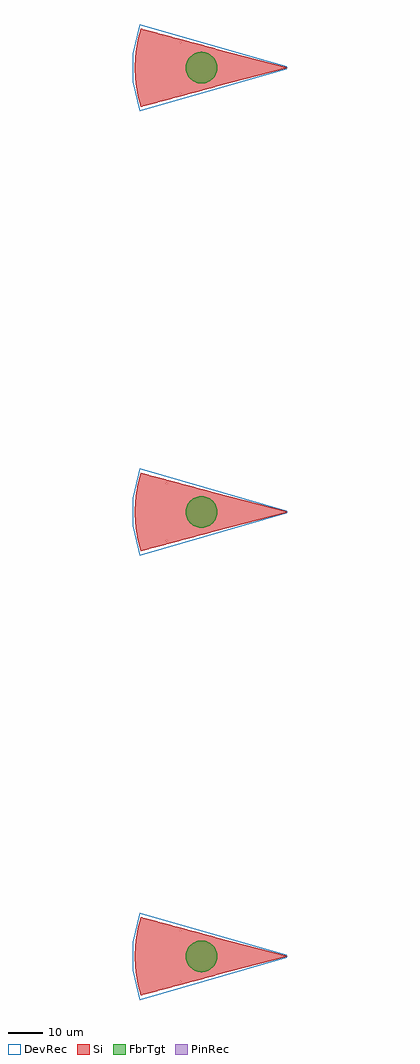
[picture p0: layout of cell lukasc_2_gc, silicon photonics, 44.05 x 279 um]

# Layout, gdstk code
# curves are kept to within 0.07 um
import gdstk
lib = gdstk.Library(unit=1e-6, precision=1e-09)
def P(c, l, *ps):  # polygons
    for p in ps: c.add(gdstk.Polygon(p, *l))
Si = (1, 0)
PinRec = (1, 10)
DevRec = (68, 0)
FbrTgt = (81, 0)

te1310_swgc_34d = lib.new_cell('TE1310_SWGC_34d')
P(te1310_swgc_34d, Si, [(-20.602,-5.52),(-20.798,-4.936),(-21.015,-4.18),(-21.208,-3.359),(-21.313,-2.806),(-21.422,-2.082),(-21.503,-1.296),(-21.54,-0.677),(-21.554,-0.056),(-21.54,0.677),(-21.503,1.296),(-21.429,2.026),(-21.332,2.695),(-21.208,3.359),(-21.029,4.126),(-20.798,4.936),(-20.602,5.52),(-20.526,5.5),(-20.77,4.757),(-20.993,3.948),(-21.174,3.127),(-21.289,2.463),(-21.37,1.851),(-21.424,1.292),(-21.461,0.674),(-21.475,0.056),(-21.461,-0.674),(-21.424,-1.292),(-21.37,-1.851),(-21.289,-2.463),(-21.174,-3.127),(-20.993,-3.948),(-20.77,-4.757),(-20.526,-5.5)],
  [(-21.057,-5.642),(-21.462,-4.327),(-21.77,-2.924),(-21.953,-1.554),(-22.024,-0.115),(-21.968,1.382),(-21.789,2.811),(-21.491,4.216),(-21.057,5.642),(-20.68,5.541),(-21.094,4.196),(-21.393,2.816),(-21.564,1.527),(-21.634,0.113),(-21.583,-1.301),(-21.412,-2.705),(-21.094,-4.196),(-20.68,-5.541)],
  [(-21.211,-5.683),(-21.428,-5.026),(-21.633,-4.303),(-21.794,-3.627),(-21.938,-2.888),(-22.034,-2.258),(-22.112,-1.566),(-22.167,-0.755),(-22.184,-0.058),(-22.172,0.639),(-22.127,1.392),(-22.049,2.142),(-21.938,2.888),(-21.794,3.627),(-21.633,4.303),(-21.428,5.026),(-21.211,5.683),(-21.135,5.663),(-21.368,4.953),(-21.57,4.232),(-21.752,3.445),(-21.888,2.707),(-21.991,1.963),(-22.053,1.329),(-22.093,0.636),(-22.105,0.058),(-22.093,-0.636),(-22.053,-1.329),(-21.991,-1.963),(-21.906,-2.593),(-21.752,-3.445),(-21.57,-4.232),(-21.368,-4.953),(-21.135,-5.663)],
  [(-21.665,-5.805),(-22.109,-4.338),(-22.384,-3.066),(-22.581,-1.599),(-22.654,-0.119),(-22.606,1.303),(-22.424,2.833),(-22.109,4.338),(-21.665,5.805),(-21.289,5.704),(-21.712,4.319),(-21.987,3.071),(-22.187,1.629),(-22.264,0.117),(-22.212,-1.339),(-22.037,-2.784),(-21.712,-4.319),(-21.289,-5.704)],
  [(-21.819,-5.846),(-22.024,-5.226),(-22.251,-4.426),(-22.403,-3.789),(-22.542,-3.088),(-22.636,-2.499),(-22.735,-1.67),(-22.797,-0.776),(-22.814,-0.06),(-22.804,0.597),(-22.756,1.432),(-22.676,2.203),(-22.582,2.853),(-22.428,3.673),(-22.251,4.426),(-22.024,5.226),(-21.819,5.846),(-21.743,5.826),(-21.964,5.152),(-22.188,4.353),(-22.35,3.66),(-22.513,2.784),(-22.59,2.255),(-22.677,1.427),(-22.718,0.773),(-22.735,0.06),(-22.725,-0.595),(-22.677,-1.427),(-22.59,-2.255),(-22.513,-2.784),(-22.35,-3.66),(-22.188,-4.353),(-21.964,-5.152),(-21.743,-5.826)],
  [(-22.274,-5.968),(-22.712,-4.518),(-23.029,-3.032),(-23.215,-1.583),(-23.284,-0.122),(-23.235,1.34),(-23.049,2.912),(-22.742,4.4),(-22.274,5.968),(-21.897,5.867),(-22.329,4.442),(-22.632,3.04),(-22.826,1.556),(-22.894,0.12),(-22.841,-1.377),(-22.662,-2.863),(-22.359,-4.326),(-21.897,-5.867)],
  [(-22.428,-6.01),(-22.672,-5.255),(-22.884,-4.49),(-23.037,-3.834),(-23.187,-3.053),(-23.303,-2.264),(-23.369,-1.655),(-23.429,-0.736),(-23.444,-0.061),(-23.429,0.736),(-23.369,1.655),(-23.303,2.264),(-23.187,3.053),(-23.037,3.834),(-22.884,4.49),(-22.672,5.255),(-22.428,6.01),(-22.352,5.989),(-22.63,5.121),(-22.836,4.356),(-23.02,3.523),(-23.148,2.801),(-23.253,2.014),(-23.315,1.344),(-23.35,0.734),(-23.365,0.061),(-23.35,-0.734),(-23.315,-1.344),(-23.253,-2.014),(-23.148,-2.801),(-23.02,-3.523),(-22.836,-4.356),(-22.63,-5.121),(-22.352,-5.989)],
  [(-22.882,-6.131),(-23.33,-4.641),(-23.643,-3.176),(-23.838,-1.688),(-23.914,-0.125),(-23.859,1.438),(-23.664,3.052),(-23.33,4.641),(-22.882,6.131),(-22.506,6.03),(-22.963,4.505),(-23.267,3.063),(-23.46,1.538),(-23.524,0.123),(-23.46,-1.538),(-23.267,-3.063),(-22.963,-4.505),(-22.506,-6.03)],
  [(-23.036,-6.173),(-23.268,-5.457),(-23.471,-4.733),(-23.632,-4.061),(-23.801,-3.197),(-23.906,-2.513),(-24.003,-1.636),(-24.056,-0.819),(-24.074,-0.063),(-24.056,0.819),(-24.003,1.636),(-23.93,2.325),(-23.822,3.073),(-23.697,3.753),(-23.502,4.611),(-23.286,5.397),(-23.036,6.173),(-22.96,6.152),(-23.209,5.379),(-23.424,4.596),(-23.619,3.741),(-23.783,2.815),(-23.859,2.255),(-23.944,1.381),(-23.98,0.754),(-23.995,0.063),(-23.98,-0.754),(-23.944,-1.381),(-23.859,-2.255),(-23.783,-2.815),(-23.619,-3.741),(-23.424,-4.596),(-23.209,-5.379),(-22.96,-6.152)],
  [(-23.491,-6.294),(-23.948,-4.764),(-24.278,-3.196),(-24.472,-1.668),(-24.544,-0.129),(-24.488,1.476),(-24.299,3.07),(-23.948,4.764),(-23.491,6.294),(-23.114,6.193),(-23.55,4.748),(-23.881,3.208),(-24.083,1.642),(-24.154,0.126),(-24.108,-1.327),(-23.902,-3.083),(-23.581,-4.626),(-23.114,-6.193)],
  [(-23.645,-6.336),(-23.918,-5.478),(-24.12,-4.732),(-24.28,-4.041),(-24.447,-3.153),(-24.565,-2.322),(-24.637,-1.615),(-24.683,-0.905),(-24.704,-0.065),(-24.691,0.711),(-24.637,1.615),(-24.565,2.322),(-24.447,3.153),(-24.28,4.041),(-24.12,4.732),(-23.918,5.478),(-23.645,6.336),(-23.569,6.315),(-23.841,5.46),(-24.058,4.655),(-24.241,3.839),(-24.399,2.953),(-24.494,2.251),(-24.558,1.61),(-24.607,0.838),(-24.625,0.064),(-24.612,-0.709),(-24.573,-1.417),(-24.494,-2.251),(-24.399,-2.953),(-24.241,-3.839),(-24.058,-4.655),(-23.841,-5.46),(-23.569,-6.315)],
  [(-24.099,-6.457),(-24.533,-5.014),(-24.869,-3.473),(-25.095,-1.777),(-25.174,-0.132),(-25.106,1.646),(-24.924,3.149),(-24.582,4.823),(-24.099,6.457),(-23.723,6.356),(-24.215,4.685),(-24.516,3.228),(-24.706,1.749),(-24.784,0.13),(-24.737,-1.361),(-24.537,-3.1),(-24.215,-4.685),(-23.723,-6.356)],
  [(-24.253,-6.499),(-24.532,-5.619),(-24.706,-4.982),(-24.915,-4.08),(-25.05,-3.365),(-25.176,-2.513),(-25.26,-1.722),(-25.318,-0.796),(-25.334,-0.066),(-25.318,0.796),(-25.271,1.59),(-25.176,2.513),(-25.061,3.299),(-24.915,4.08),(-24.706,4.982),(-24.532,5.619),(-24.253,6.499),(-24.177,6.478),(-24.455,5.601),(-24.661,4.838),(-24.837,4.067),(-25.004,3.159),(-25.121,2.308),(-25.192,1.585),(-25.239,0.793),(-25.255,0.066),(-25.244,-0.661),(-25.202,-1.453),(-25.136,-2.177),(-25.044,-2.898),(-24.889,-3.808),(-24.723,-4.582),(-24.455,-5.601),(-24.177,-6.478)],
  [(-24.708,-6.62),(-25.184,-5.009),(-25.505,-3.494),(-25.735,-1.687),(-25.804,-0.135),(-25.735,1.687),(-25.549,3.228),(-25.184,5.009),(-24.708,6.62),(-24.331,6.52),(-24.785,4.997),(-25.107,3.506),(-25.322,1.926),(-25.414,0.133),(-25.346,-1.661),(-25.162,-3.179),(-24.833,-4.805),(-24.331,-6.52)],
  [(-24.862,-6.662),(-25.108,-5.889),(-25.307,-5.172),(-25.523,-4.248),(-25.663,-3.515),(-25.803,-2.575),(-25.894,-1.697),(-25.948,-0.815),(-25.964,-0.068),(-25.948,0.815),(-25.905,1.562),(-25.835,2.306),(-25.707,3.248),(-25.55,4.115),(-25.373,4.909),(-25.146,5.759),(-24.862,6.662),(-24.786,6.641),(-25.012,5.936),(-25.263,5.025),(-25.445,4.235),(-25.629,3.238),(-25.756,2.299),(-25.826,1.557),(-25.869,0.813),(-25.885,0.068),(-25.869,-0.813),(-25.826,-1.557),(-25.756,-2.299),(-25.629,-3.238),(-25.445,-4.235),(-25.263,-5.025),(-25.012,-5.936),(-24.786,-6.641)],
  [(-25.316,-6.784),(-25.785,-5.199),(-26.152,-3.443),(-26.358,-1.797),(-26.434,-0.138),(-26.369,1.659),(-26.174,3.307),(-25.785,5.199),(-25.316,6.784),(-24.94,6.683),(-25.419,5.056),(-25.754,3.459),(-25.963,1.838),(-26.044,0.136),(-25.98,-1.635),(-25.787,-3.258),(-25.452,-4.924),(-24.94,-6.683)],
  [(-25.471,-6.825),(-25.741,-5.966),(-25.975,-5.096),(-26.158,-4.284),(-26.31,-3.464),(-26.421,-2.707),(-26.517,-1.808),(-26.568,-1.044),(-26.594,-0.07),(-26.58,0.766),(-26.517,1.808),(-26.421,2.707),(-26.31,3.464),(-26.158,4.284),(-25.975,5.096),(-25.741,5.966),(-25.471,6.825),(-25.394,6.804),(-25.664,5.949),(-25.914,5.014),(-26.108,4.135),(-26.254,3.317),(-26.368,2.492),(-26.444,1.733),(-26.501,0.763),(-26.515,0.069),(-26.501,-0.763),(-26.455,-1.595),(-26.376,-2.424),(-26.275,-3.18),(-26.108,-4.135),(-25.914,-5.014),(-25.664,-5.949),(-25.394,-6.804)],
  [(-25.925,-6.947),(-26.385,-5.392),(-26.765,-3.595),(-26.974,-1.981),(-27.064,-0.142),(-26.998,1.699),(-26.788,3.455),(-26.436,5.187),(-25.925,6.947),(-25.548,6.846),(-26.054,5.112),(-26.39,3.474),(-26.603,1.744),(-26.674,0.14),(-26.603,-1.744),(-26.39,-3.474),(-26.054,-5.112),(-25.548,-6.846)],
  [(-26.079,-6.988),(-26.354,-6.109),(-26.559,-5.355),(-26.751,-4.525),(-26.923,-3.616),(-27.029,-2.912),(-27.133,-1.993),(-27.198,-1.069),(-27.224,-0.071),(-27.21,0.784),(-27.157,1.709),(-27.082,2.488),(-26.946,3.476),(-26.78,4.385),(-26.559,5.355),(-26.354,6.109),(-26.079,6.988),(-26.003,6.967),(-26.258,6.159),(-26.549,5.064),(-26.73,4.234),(-26.89,3.325),(-26.995,2.552),(-27.078,1.704),(-27.131,0.782),(-27.145,0.071),(-27.131,-0.782),(-27.089,-1.562),(-27.019,-2.34),(-26.89,-3.325),(-26.73,-4.234),(-26.549,-5.064),(-26.258,-6.159),(-26.003,-6.967)],
  [(-26.534,-7.11),(-27.072,-5.238),(-27.401,-3.607),(-27.615,-1.883),(-27.694,-0.145),(-27.632,1.666),(-27.424,3.464),(-27.072,5.238),(-26.534,7.11),(-26.157,7.009),(-26.655,5.302),(-27.003,3.627),(-27.226,1.856),(-27.304,0.143),(-27.243,-1.642),(-27.026,-3.486),(-26.655,-5.302),(-26.157,-7.009)],
  [(-26.688,-7.151),(-26.948,-6.321),(-27.194,-5.409),(-27.416,-4.416),(-27.571,-3.556),(-27.701,-2.618),(-27.786,-1.748),(-27.837,-0.875),(-27.854,-0.073),(-27.837,0.875),(-27.786,1.748),(-27.701,2.618),(-27.571,3.556),(-27.416,4.416),(-27.194,5.409),(-26.948,6.321),(-26.688,7.151),(-26.611,7.13),(-26.871,6.303),(-27.151,5.253),(-27.324,4.474),(-27.504,3.475),(-27.622,2.611),(-27.707,1.743),(-27.758,0.872),(-27.775,0.073),(-27.763,-0.727),(-27.718,-1.598),(-27.622,-2.611),(-27.526,-3.331),(-27.38,-4.19),(-27.151,-5.253),(-26.871,-6.303),(-26.611,-7.13)],
  [(-27.142,-7.273),(-27.601,-5.716),(-27.989,-3.909),(-28.237,-1.999),(-28.324,-0.148),(-28.261,1.704),(-28.049,3.543),(-27.673,5.429),(-27.142,7.273),(-26.765,7.172),(-27.273,5.425),(-27.639,3.639),(-27.848,1.972),(-27.934,0.146),(-27.866,-1.753),(-27.639,-3.639),(-27.273,-5.425),(-26.765,-7.172)],
  [(-27.296,-7.314),(-27.582,-6.393),(-27.812,-5.532),(-27.993,-4.735),(-28.172,-3.784),(-28.301,-2.9),(-28.396,-2.011),(-28.457,-1.118),(-28.484,-0.075),(-28.472,0.746),(-28.42,1.713),(-28.328,2.678),(-28.184,3.71),(-28.038,4.516),(-27.812,5.532),(-27.582,6.393),(-27.296,7.314),(-27.22,7.294),(-27.505,6.375),(-27.752,5.445),(-27.96,4.503),(-28.129,3.553),(-28.258,2.597),(-28.33,1.857),(-28.378,1.115),(-28.405,0.074),(-28.393,-0.743),(-28.347,-1.634),(-28.282,-2.375),(-28.173,-3.26),(-27.974,-4.431),(-27.752,-5.445),(-27.505,-6.375),(-27.22,-7.294)],
  [(-27.751,-7.436),(-28.237,-5.77),(-28.638,-3.847),(-28.872,-1.968),(-28.954,-0.152),(-28.89,1.742),(-28.674,3.622),(-28.309,5.477),(-27.751,7.436),(-27.374,7.335),(-27.891,5.548),(-28.239,3.868),(-28.47,2.091),(-28.564,0.15),(-28.495,-1.793),(-28.287,-3.573),(-27.891,-5.548),(-27.374,-7.335)],
  [(-27.905,-7.477),(-28.132,-6.754),(-28.393,-5.802),(-28.599,-4.914),(-28.796,-3.868),(-28.928,-2.964),(-29.031,-1.979),(-29.09,-1.067),(-29.114,-0.076),(-29.09,1.067),(-29.031,1.979),(-28.928,2.964),(-28.796,3.868),(-28.599,4.914),(-28.393,5.802),(-28.132,6.754),(-27.905,7.477),(-27.828,7.457),(-28.119,6.518),(-28.388,5.492),(-28.611,4.455),(-28.777,3.482),(-28.902,2.503),(-28.97,1.747),(-29.02,0.836),(-29.035,0.076),(-29.02,-0.836),(-28.97,-1.747),(-28.902,-2.503),(-28.777,-3.482),(-28.611,-4.455),(-28.388,-5.492),(-28.119,-6.518),(-27.828,-7.457)],
  [(-28.359,-7.599),(-28.854,-5.897),(-29.25,-4.007),(-29.494,-2.088),(-29.584,-0.155),(-29.513,1.857),(-29.275,3.854),(-28.891,5.747),(-28.359,7.599),(-27.982,7.498),(-28.472,5.819),(-28.876,3.878),(-29.105,2.061),(-29.194,0.153),(-29.135,-1.68),(-28.924,-3.577),(-28.544,-5.523),(-27.982,-7.498)],
  [(-28.513,-7.64),(-28.788,-6.752),(-29.066,-5.702),(-29.267,-4.793),(-29.433,-3.875),(-29.564,-2.951),(-29.666,-1.944),(-29.723,-1.012),(-29.744,-0.078),(-29.723,1.012),(-29.666,1.944),(-29.564,2.951),(-29.433,3.875),(-29.267,4.793),(-29.066,5.702),(-28.788,6.752),(-28.513,7.64),(-28.437,7.62),(-28.711,6.734),(-28.97,5.762),(-29.189,4.78),(-29.379,3.711),(-29.495,2.866),(-29.581,2.017),(-29.644,1.009),(-29.665,0.078),(-29.65,-0.854),(-29.599,-1.784),(-29.504,-2.789),(-29.402,-3.558),(-29.219,-4.628),(-29.024,-5.537),(-28.774,-6.511),(-28.437,-7.62)],
  [(-28.968,-7.762),(-29.509,-5.87),(-29.887,-4.014),(-30.129,-2.054),(-30.214,-0.158),(-30.153,1.739),(-29.912,3.858),(-29.509,5.87),(-28.968,7.762),(-28.591,7.661),(-29.145,5.718),(-29.513,3.885),(-29.74,2.027),(-29.824,0.156),(-29.764,-1.716),(-29.513,-3.885),(-29.145,-5.718),(-28.591,-7.661)],
  [(-29.122,-7.803),(-29.423,-6.82),(-29.684,-5.824),(-29.873,-4.972),(-30.045,-4.036),(-30.191,-3.013),(-30.288,-2.065),(-30.349,-1.113),(-30.374,-0.08),(-30.361,0.795),(-30.301,1.906),(-30.191,3.013),(-30.07,3.879),(-29.904,4.817),(-29.684,5.824),(-29.423,6.82),(-29.122,7.803),(-29.045,7.783),(-29.389,6.65),(-29.625,5.732),(-29.826,4.804),(-30.016,3.712),(-30.122,2.927),(-30.216,1.98),(-30.27,1.11),(-30.295,0.079),(-30.282,-0.793),(-30.228,-1.822),(-30.14,-2.769),(-30.016,-3.712),(-29.826,-4.804),(-29.625,-5.732),(-29.389,-6.65),(-29.045,-7.783)],
  [(-29.576,-7.925),(-30.108,-6.071),(-30.498,-4.178),(-30.751,-2.177),(-30.844,-0.161),(-30.764,2.016),(-30.537,3.939),(-30.127,5.993),(-29.576,7.925),(-29.2,7.824),(-29.763,5.839),(-30.125,4.046),(-30.362,2.15),(-30.454,0.159),(-30.393,-1.752),(-30.15,-3.889),(-29.763,-5.839),(-29.2,-7.824)],
  [(-29.73,-7.966),(-30.015,-7.04),(-30.283,-6.024),(-30.526,-4.917),(-30.695,-3.959),(-30.818,-3.076),(-30.923,-2.027),(-30.982,-1.055),(-31.004,-0.081),(-30.982,1.055),(-30.923,2.027),(-30.837,2.915),(-30.695,3.959),(-30.526,4.917),(-30.283,6.024),(-30.015,7.04),(-29.73,7.966),(-29.654,7.946),(-29.982,6.867),(-30.225,5.93),(-30.448,4.904),(-30.629,3.869),(-30.749,2.988),(-30.851,1.941),(-30.903,1.052),(-30.925,0.081),(-30.912,-0.809),(-30.857,-1.86),(-30.785,-2.666),(-30.665,-3.629),(-30.508,-4.587),(-30.262,-5.773),(-29.982,-6.867),(-29.654,-7.946)],
  [(-30.185,-8.088),(-30.745,-6.115),(-31.149,-4.101),(-31.393,-2.058),(-31.474,-0.165),(-31.393,2.058),(-31.149,4.101),(-30.745,6.115),(-30.185,8.088),(-29.808,7.987),(-30.343,6.118),(-30.736,4.21),(-30.997,2.113),(-31.084,0.163),(-31.01,-1.951),(-30.775,-3.97),(-30.381,-5.961),(-29.808,-7.987)],
  [(-30.339,-8.129),(-30.628,-7.184),(-30.882,-6.227),(-31.116,-5.179),(-31.294,-4.203),(-31.445,-3.139),(-31.552,-2.068),(-31.615,-0.994),(-31.634,-0.083),(-31.615,0.994),(-31.552,2.068),(-31.445,3.139),(-31.32,4.04),(-31.116,5.179),(-30.882,6.227),(-30.628,7.184),(-30.339,8.129),(-30.263,8.109),(-30.551,7.166),(-30.824,6.131),(-31.07,5.004),(-31.254,3.948),(-31.376,3.049),(-31.473,2.063),(-31.533,1.074),(-31.555,0.083),(-31.533,-1.074),(-31.473,-2.063),(-31.376,-3.049),(-31.254,-3.948),(-31.07,-5.004),(-30.824,-6.131),(-30.551,-7.166),(-30.263,-8.109)],
  [(-30.793,-8.251),(-31.343,-6.32),(-31.76,-4.266),(-31.993,-2.434),(-32.104,-0.168),(-32.046,1.764),(-31.812,3.934),(-31.382,6.157),(-30.793,8.251),(-30.417,8.15),(-30.941,6.323),(-31.36,4.296),(-31.604,2.404),(-31.714,0.166),(-31.651,-1.825),(-31.425,-3.886),(-30.999,-6.082),(-30.417,-8.15)],
  [(-30.947,-8.292),(-31.287,-7.166),(-31.539,-6.188),(-31.754,-5.2),(-31.918,-4.287),(-32.051,-3.369),(-32.174,-2.193),(-32.234,-1.266),(-32.264,-0.084),(-32.241,1.098),(-32.174,2.193),(-32.051,3.369),(-31.918,4.287),(-31.754,5.2),(-31.539,6.188),(-31.287,7.166),(-30.947,8.292),(-30.871,8.272),(-31.21,7.148),(-31.461,6.172),(-31.676,5.187),(-31.879,4.027),(-32.003,3.11),(-32.102,2.104),(-32.159,1.179),(-32.185,0.084),(-32.169,-0.927),(-32.126,-1.768),(-32.049,-2.691),(-31.904,-3.861),(-31.708,-5.022),(-31.48,-6.091),(-31.21,-7.148),(-30.871,-8.272)],
  [(-31.402,-8.414),(-32.02,-6.195),(-32.398,-4.265),(-32.636,-2.311),(-32.734,-0.171),(-32.663,1.969),(-32.398,4.265),(-32.02,6.195),(-31.402,8.414),(-31.025,8.313),(-31.618,6.203),(-31.998,4.298),(-32.247,2.283),(-32.344,0.169),(-32.261,-2.114),(-32.05,-3.964),(-31.618,-6.203),(-31.025,-8.313)],
  [(-31.556,-8.455),(-31.855,-7.471),(-32.117,-6.476),(-32.375,-5.302),(-32.556,-4.286),(-32.688,-3.349),(-32.816,-2.065),(-32.871,-1.119),(-32.894,0),(-32.871,1.119),(-32.816,2.065),(-32.688,3.349),(-32.556,4.286),(-32.375,5.302),(-32.117,6.476),(-31.855,7.471),(-31.556,8.455),(-31.48,8.435),(-31.824,7.289),(-32.099,6.21),(-32.314,5.205),(-32.517,4.021),(-32.64,3.085),(-32.737,2.06),(-32.792,1.116),(-32.815,0),(-32.792,-1.116),(-32.737,-2.06),(-32.64,-3.085),(-32.517,-4.021),(-32.314,-5.205),(-32.099,-6.21),(-31.824,-7.289),(-31.48,-8.435)],
  [(-32.01,-8.577),(-32.578,-6.569),(-33.009,-4.434),(-33.257,-2.442),(-33.364,-0.175),(-33.292,2.007),(-33.036,4.261),(-32.578,6.569),(-32.01,8.577),(-31.634,8.476),(-32.196,6.492),(-32.636,4.297),(-32.868,2.414),(-32.974,0.173),(-32.896,-2.07),(-32.636,-4.297),(-32.196,-6.492),(-31.634,-8.476)],
  [(-32.164,-8.618),(-32.492,-7.531),(-32.755,-6.515),(-32.963,-5.575),(-33.167,-4.455),(-33.315,-3.413),(-33.438,-2.192),(-33.504,-1.053),(-33.524,0),(-33.504,1.053),(-33.438,2.192),(-33.315,3.413),(-33.167,4.455),(-32.963,5.575),(-32.755,6.515),(-32.492,7.531),(-32.164,8.618),(-32.088,8.598),(-32.415,7.513),(-32.737,6.245),(-32.936,5.305),(-33.155,4.012),(-33.277,3.058),(-33.366,2.099),(-33.425,1.05),(-33.445,0),(-33.425,-1.05),(-33.366,-2.099),(-33.277,-3.058),(-33.155,-4.012),(-32.936,-5.305),(-32.737,-6.245),(-32.415,-7.513),(-32.088,-8.598)],
  [(-32.619,-8.74),(-33.237,-6.521),(-33.619,-4.605),(-33.893,-2.4),(-33.994,-0.178),(-33.914,2.134),(-33.661,4.342),(-33.237,6.521),(-32.619,8.74),(-32.242,8.639),(-32.834,6.531),(-33.274,4.292),(-33.504,2.372),(-33.604,0.176),(-33.525,-2.109),(-33.274,-4.292),(-32.834,-6.531),(-32.242,-8.639)],
  [(-32.773,-8.781),(-33.129,-7.588),(-33.373,-6.638),(-33.619,-5.505),(-33.819,-4.362),(-33.983,-3.123),(-34.08,-2.055),(-34.137,-0.983),(-34.154,0),(-34.137,0.983),(-34.08,2.055),(-33.983,3.123),(-33.819,4.362),(-33.619,5.505),(-33.373,6.638),(-33.129,7.588),(-32.773,8.781),(-32.697,8.761),(-33.052,7.57),(-33.316,6.536),(-33.541,5.493),(-33.741,4.352),(-33.914,3.027),(-34.001,2.05),(-34.055,1.07),(-34.075,0),(-34.055,-1.07),(-34.001,-2.05),(-33.914,-3.027),(-33.741,-4.352),(-33.541,-5.493),(-33.316,-6.536),(-33.052,-7.57),(-32.697,-8.761)],
  [(-33.227,-8.903),(-33.855,-6.642),(-34.272,-4.512),(-34.529,-2.354),(-34.624,-0.181),(-34.543,2.173),(-34.272,4.512),(-33.855,6.642),(-33.227,8.903),(-32.851,8.802),(-33.41,6.828),(-33.857,4.638),(-34.132,2.417),(-34.234,0.179),(-34.147,-2.238),(-33.899,-4.373),(-33.452,-6.654),(-32.851,-8.802)],
  [(-33.381,-8.945),(-33.695,-7.903),(-33.991,-6.761),(-34.223,-5.696),(-34.43,-4.533),(-34.59,-3.361),(-34.688,-2.365),(-34.76,-1.183),(-34.784,0),(-34.76,1.183),(-34.688,2.365),(-34.59,3.361),(-34.43,4.533),(-34.223,5.696),(-33.991,6.761),(-33.695,7.903),(-33.381,8.945),(-33.305,8.924),(-33.666,7.711),(-33.975,6.481),(-34.197,5.416),(-34.406,4.164),(-34.541,3.083),(-34.63,2.088),(-34.681,1.181),(-34.705,0),(-34.681,-1.181),(-34.63,-2.088),(-34.541,-3.083),(-34.406,-4.164),(-34.197,-5.416),(-33.975,-6.481),(-33.666,-7.711),(-33.305,-8.924)],
  [(-33.836,-9.066),(-34.431,-6.942),(-34.882,-4.685),(-35.15,-2.489),(-35.254,-0.185),(-35.185,2.029),(-34.938,4.321),(-34.494,6.674),(-33.836,9.066),(-33.459,8.965),(-34.027,6.954),(-34.51,4.543),(-34.768,2.37),(-34.864,0.183),(-34.789,-2.097),(-34.524,-4.453),(-34.111,-6.6),(-33.459,-8.965)],
  [(-33.99,-9.108),(-34.333,-7.958),(-34.63,-6.794),(-34.88,-5.618),(-35.069,-4.523),(-35.217,-3.422),(-35.324,-2.315),(-35.393,-1.112),(-35.414,0),(-35.393,1.112),(-35.324,2.315),(-35.217,3.422),(-35.069,4.523),(-34.88,5.618),(-34.63,6.794),(-34.333,7.958),(-33.99,9.108),(-33.914,9.087),(-34.256,7.94),(-34.444,7.227),(-34.594,6.599),(-34.819,5.515),(-35.018,4.331),(-35.159,3.231),(-35.259,2.126),(-35.314,1.11),(-35.335,0),(-35.314,-1.11),(-35.259,-2.126),(-35.159,-3.231),(-35.018,-4.331),(-34.819,-5.515),(-34.594,-6.599),(-34.444,-7.227),(-34.256,-7.94),(-33.914,-9.087)],
  [(-34.444,-9.229),(-35.07,-6.976),(-35.521,-4.676),(-35.786,-2.44),(-35.884,-0.188),(-35.814,2.065),(-35.521,4.676),(-35.07,6.976),(-34.444,9.229),(-34.068,9.128),(-34.709,6.81),(-35.12,4.717),(-35.397,2.413),(-35.494,0.186),(-35.397,-2.413),(-35.12,-4.717),(-34.709,-6.81),(-34.068,-9.128)],
  [(-34.599,-9.271),(-34.947,-8.1),(-35.205,-7.098),(-35.466,-5.903),(-35.679,-4.697),(-35.833,-3.577),(-35.945,-2.45),(-36.023,-1.132),(-36.044,0),(-36.023,1.132),(-35.945,2.45),(-35.833,3.577),(-35.679,4.697),(-35.466,5.903),(-35.205,7.098),(-34.947,8.1),(-34.599,9.271),(-34.522,9.25),(-34.87,8.082),(-35.149,6.992),(-35.424,5.706),(-35.643,4.408),(-35.776,3.382),(-35.881,2.257),(-35.944,1.13),(-35.965,0),(-35.944,-1.13),(-35.881,-2.257),(-35.776,-3.382),(-35.643,-4.408),(-35.424,-5.706),(-35.149,-6.992),(-34.87,-8.082),(-34.522,-9.25)],
  [(-35.053,-9.392),(-35.688,-7.099),(-36.131,-4.853),(-36.422,-2.387),(-36.514,-0.191),(-36.443,2.101),(-36.16,4.664),(-35.688,7.099),(-35.053,9.392),(-34.676,9.291),(-35.327,6.931),(-35.759,4.708),(-36.033,2.362),(-36.124,0.189),(-36.033,-2.362),(-35.759,-4.708),(-35.327,-6.931),(-34.676,-9.291)],
  [(-35.207,-9.434),(-35.535,-8.335),(-35.866,-7.037),(-36.106,-5.913),(-36.304,-4.779),(-36.46,-3.639),(-36.581,-2.398),(-36.649,-1.248),(-36.674,0),(-36.649,1.248),(-36.581,2.398),(-36.46,3.639),(-36.304,4.779),(-36.106,5.913),(-35.866,7.037),(-35.535,8.335),(-35.207,9.434),(-35.131,9.413),(-35.458,8.317),(-35.654,7.578),(-35.81,6.928),(-36.081,5.618),(-36.282,4.391),(-36.424,3.251),(-36.523,2.106),(-36.577,1.054),(-36.595,0),(-36.577,-1.054),(-36.523,-2.106),(-36.424,-3.251),(-36.282,-4.391),(-36.081,-5.618),(-35.81,-6.928),(-35.654,-7.578),(-35.458,-8.317),(-35.131,-9.413)],
  [(-35.662,-9.555),(-36.306,-7.222),(-36.74,-5.033),(-37.027,-2.719),(-37.144,-0.194),(-37.058,2.331),(-36.785,4.745),(-36.306,7.222),(-35.662,9.555),(-35.285,9.455),(-35.879,7.332),(-36.338,5.075),(-36.638,2.69),(-36.754,0.192),(-36.669,-2.307),(-36.398,-4.695),(-35.967,-6.959),(-35.285,-9.455)],
  [(-35.816,-9.597),(-36.174,-8.385),(-36.44,-7.348),(-36.591,-6.683),(-36.746,-5.919),(-36.958,-4.669),(-37.109,-3.508),(-37.21,-2.439),(-37.282,-1.172),(-37.304,0),(-37.282,1.172),(-37.21,2.439),(-37.109,3.508),(-36.958,4.669),(-36.746,5.919),(-36.591,6.683),(-36.44,7.348),(-36.174,8.385),(-35.816,9.597),(-35.739,9.576),(-36.123,8.273),(-36.407,7.143),(-36.668,5.906),(-36.865,4.755),(-37.008,3.694),(-37.131,2.434),(-37.203,1.169),(-37.225,0),(-37.203,-1.169),(-37.131,-2.434),(-37.008,-3.694),(-36.865,-4.755),(-36.668,-5.906),(-36.407,-7.143),(-36.123,-8.273),(-35.739,-9.576)],
  [(-36.27,-9.719),(-36.924,-7.345),(-37.395,-4.923),(-37.679,-2.47),(-37.774,-0.198),(-37.694,2.272),(-37.41,4.825),(-36.924,7.345),(-36.27,9.719),(-35.893,9.618),(-36.519,7.363),(-36.993,4.969),(-37.266,2.737),(-37.384,0.196),(-37.29,-2.444),(-37.023,-4.776),(-36.519,-7.363),(-35.893,-9.618)],
  [(-36.424,-9.76),(-36.788,-8.527),(-37.08,-7.376),(-37.368,-6.019),(-37.553,-4.944),(-37.725,-3.666),(-37.846,-2.381),(-37.912,-1.191),(-37.934,0),(-37.912,1.191),(-37.846,2.381),(-37.725,3.666),(-37.553,4.944),(-37.368,6.019),(-37.08,7.376),(-36.788,8.527),(-36.424,9.76),(-36.348,9.739),(-36.685,8.604),(-37.003,7.36),(-37.29,6.006),(-37.519,4.64),(-37.679,3.363),(-37.767,2.376),(-37.833,1.189),(-37.855,0),(-37.833,-1.189),(-37.767,-2.376),(-37.679,-3.363),(-37.519,-4.64),(-37.29,-6.006),(-37.003,-7.36),(-36.685,-8.604),(-36.348,-9.739)],
  [(-36.879,-9.882),(-37.495,-7.663),(-38.004,-5.105),(-38.292,-2.711),(-38.404,-0.201),(-38.308,2.511),(-38.014,5.039),(-37.587,7.272),(-36.879,9.882),(-36.502,9.781),(-37.136,7.488),(-37.602,5.151),(-37.903,2.684),(-38.014,0.199),(-37.919,-2.485),(-37.648,-4.856),(-37.204,-7.198),(-36.502,-9.781)],
  [(-37.033,-9.923),(-37.428,-8.572),(-37.721,-7.4),(-37.99,-6.119),(-38.193,-4.926),(-38.352,-3.727),(-38.467,-2.521),(-38.545,-1.11),(-38.564,0),(-38.545,1.11),(-38.467,2.521),(-38.352,3.727),(-38.193,4.926),(-37.99,6.119),(-37.721,7.4),(-37.428,8.572),(-37.033,9.923),(-36.956,9.902),(-37.161,9.231),(-37.351,8.554),(-37.666,7.287),(-37.912,6.106),(-38.144,4.717),(-38.306,3.419),(-38.396,2.416),(-38.466,1.108),(-38.485,0),(-38.466,-1.108),(-38.396,-2.416),(-38.306,-3.419),(-38.144,-4.717),(-37.912,-6.106),(-37.666,-7.287),(-37.351,-8.554),(-37.161,-9.231),(-36.956,-9.902)],
  [(-37.487,-10.045),(-38.136,-7.69),(-38.644,-5.088),(-38.92,-2.756),(-39.034,-0.204),(-38.944,2.45),(-38.644,5.088),(-38.136,7.69),(-37.487,10.045),(-37.11,9.944),(-37.754,7.612),(-38.242,5.136),(-38.523,2.829),(-38.644,0.202),(-38.555,-2.426),(-38.257,-5.037),(-37.8,-7.416),(-37.11,-9.944)],
  [(-37.641,-10.086),(-37.961,-9.009),(-38.316,-7.621),(-38.612,-6.219),(-38.802,-5.108),(-38.979,-3.788),(-39.111,-2.358),(-39.175,-1.128),(-39.194,0),(-39.175,1.128),(-39.111,2.358),(-38.979,3.788),(-38.802,5.108),(-38.612,6.219),(-38.316,7.621),(-37.961,9.009),(-37.641,10.086),(-37.565,10.065),(-37.801,9.285),(-37.965,8.695),(-38.307,7.307),(-38.571,6.006),(-38.784,4.693),(-38.934,3.475),(-39.032,2.353),(-39.096,1.126),(-39.115,0),(-39.096,-1.126),(-39.032,-2.353),(-38.934,-3.475),(-38.784,-4.693),(-38.571,-6.006),(-38.307,-7.307),(-37.965,-8.695),(-37.801,-9.285),(-37.565,-10.065)],
  [(-38.096,-10.208),(-38.754,-7.814),(-39.253,-5.272),(-39.549,-2.8),(-39.664,-0.104),(-39.573,2.49),(-39.253,5.272),(-38.754,7.814),(-38.096,10.208),(-37.719,10.107),(-38.395,7.637),(-38.882,5.119),(-39.168,2.67),(-39.274,0.206),(-39.184,-2.465),(-38.882,-5.119),(-38.395,-7.637),(-37.719,-10.107)],
  [(-38.25,-10.249),(-38.602,-9.054),(-38.934,-7.744),(-39.234,-6.319),(-39.427,-5.191),(-39.618,-3.745),(-39.732,-2.5),(-39.801,-1.251),(-39.824,0),(-39.801,1.251),(-39.732,2.5),(-39.618,3.745),(-39.427,5.191),(-39.234,6.319),(-38.934,7.744),(-38.602,9.054),(-38.25,10.249),(-38.173,10.229),(-38.525,9.036),(-38.88,7.628),(-39.156,6.307),(-39.364,5.078),(-39.539,3.738),(-39.661,2.391),(-39.722,1.248),(-39.745,0),(-39.722,-1.248),(-39.661,-2.391),(-39.539,-3.738),(-39.364,-5.078),(-39.156,-6.307),(-38.88,-7.628),(-38.525,-9.036),(-38.173,-10.229)],
  [(-38.704,-10.371),(-39.419,-7.734),(-39.877,-5.356),(-40.194,-2.634),(-40.294,-0.105),(-40.202,2.529),(-39.909,5.148),(-39.419,7.734),(-38.704,10.371),(-38.328,10.27),(-39.013,7.76),(-39.538,4.995),(-39.82,2.401),(-39.904,0.104),(-39.82,-2.401),(-39.538,-4.995),(-39.013,-7.76),(-38.328,-10.27)],
  [(-38.858,-10.412),(-39.243,-9.096),(-39.552,-7.867),(-39.856,-6.42),(-40.083,-5.064),(-40.245,-3.804),(-40.361,-2.539),(-40.434,-1.165),(-40.454,0),(-40.434,1.165),(-40.361,2.539),(-40.245,3.804),(-40.083,5.064),(-39.856,6.42),(-39.552,7.867),(-39.243,9.096),(-38.858,10.412),(-38.782,10.392),(-39.166,9.078),(-39.498,7.749),(-39.778,6.407),(-40.02,4.949),(-40.189,3.587),(-40.282,2.534),(-40.359,1.057),(-40.375,0),(-40.359,-1.057),(-40.282,-2.534),(-40.189,-3.587),(-40.02,-4.949),(-39.778,-6.407),(-39.498,-7.749),(-39.166,-9.078),(-38.782,-10.392)],
  [(-39.313,-10.534),(-39.989,-8.063),(-40.518,-5.334),(-40.814,-2.782),(-40.924,-0.107),(-40.838,2.462),(-40.533,5.235),(-40.061,7.751),(-39.313,10.534),(-38.936,10.433),(-39.631,7.883),(-40.115,5.388),(-40.425,2.756),(-40.534,0.106),(-40.449,-2.439),(-40.163,-5.074),(-39.631,-7.883),(-38.936,-10.433)],
  [(-39.467,-10.575),(-39.713,-9.754),(-39.884,-9.135),(-40.194,-7.886),(-40.478,-6.52),(-40.676,-5.355),(-40.848,-4.077),(-40.973,-2.793),(-41.052,-1.505),(-41.076,-0.753),(-41.084,0),(-41.076,0.753),(-41.052,1.505),(-40.973,2.793),(-40.848,4.077),(-40.676,5.355),(-40.478,6.52),(-40.194,7.886),(-39.884,9.135),(-39.713,9.754),(-39.467,10.575),(-39.391,10.555),(-39.636,9.736),(-39.835,9.014),(-40.14,7.766),(-40.4,6.507),(-40.645,5.027),(-40.805,3.749),(-40.911,2.574),(-40.985,1.181),(-41.005,0),(-40.985,-1.181),(-40.911,-2.574),(-40.805,-3.749),(-40.645,-5.027),(-40.4,-6.507),(-40.14,-7.766),(-39.835,-9.014),(-39.636,-9.736),(-39.391,-10.555)],
  [(-39.921,-10.697),(-40.631,-8.082),(-41.126,-5.524),(-41.443,-2.825),(-41.554,-0.109),(-41.467,2.5),(-41.159,5.309),(-40.631,8.082),(-39.921,10.697),(-39.545,10.596),(-40.273,7.901),(-40.756,5.366),(-41.062,2.691),(-41.164,0.108),(-41.07,-2.584),(-40.756,-5.366),(-40.273,-7.901),(-39.545,-10.596)],
  [(-40.075,-10.738),(-40.442,-9.485),(-40.661,-8.643),(-40.812,-8.007),(-41.1,-6.62),(-41.317,-5.329),(-41.475,-4.14),(-41.602,-2.836),(-41.686,-1.419),(-41.714,0),(-41.686,1.419),(-41.602,2.836),(-41.475,4.14),(-41.317,5.329),(-41.1,6.62),(-40.812,8.007),(-40.661,8.643),(-40.442,9.485),(-40.075,10.738),(-39.999,10.718),(-40.248,9.886),(-40.477,9.048),(-40.71,8.098),(-40.874,7.354),(-41.118,6.072),(-41.27,5.104),(-41.444,3.699),(-41.555,2.396),(-41.615,1.199),(-41.635,0),(-41.615,-1.199),(-41.555,-2.396),(-41.444,-3.699),(-41.27,-5.104),(-41.118,-6.072),(-40.874,-7.354),(-40.71,-8.098),(-40.477,-9.048),(-40.248,-9.886),(-39.999,-10.718)],
  [(-40.53,-10.86),(-41.249,-8.205),(-41.767,-5.499),(-42.08,-2.758),(-42.184,-0.11),(-42.096,2.538),(-41.8,5.281),(-41.298,7.99),(-40.53,10.86),(-40.153,10.759),(-40.842,8.235),(-41.364,5.556),(-41.682,2.842),(-41.794,0.109),(-41.699,-2.623),(-41.397,-5.34),(-40.891,-8.022),(-40.153,-10.759)],
  [(-40.684,-10.901),(-41.084,-9.523),(-41.43,-8.128),(-41.701,-6.829),(-41.942,-5.41),(-42.102,-4.202),(-42.239,-2.768),(-42.311,-1.551),(-42.338,-0.665),(-42.344,0),(-42.338,0.665),(-42.311,1.551),(-42.239,2.768),(-42.102,4.202),(-41.942,5.41),(-41.701,6.829),(-41.43,8.128),(-41.084,9.523),(-40.684,10.901),(-40.608,10.881),(-40.86,10.036),(-41.064,9.292),(-41.303,8.328),(-41.494,7.466),(-41.741,6.164),(-41.911,5.072),(-42.06,3.865),(-42.184,2.432),(-42.248,1.106),(-42.265,0),(-42.248,-1.106),(-42.184,-2.432),(-42.06,-3.865),(-41.911,-5.072),(-41.741,-6.164),(-41.494,-7.466),(-41.303,-8.328),(-41.064,-9.292),(-40.86,-10.036),(-40.608,-10.881)],
  [(-41.138,-11.023),(-41.867,-8.328),(-42.392,-5.581),(-42.7,-2.911),(-42.814,-0.112),(-42.717,2.687),(-42.392,5.581),(-41.867,8.328),(-41.138,11.023),(-40.762,10.922),(-41.509,8.144),(-42.005,5.53),(-42.311,2.884),(-42.424,0.111),(-42.343,-2.441),(-42.038,-5.311),(-41.509,-8.144),(-40.762,-10.922)],
  [(-41.292,-11.064),(-41.698,-9.665),(-41.998,-8.468),(-42.302,-7.041),(-42.55,-5.602),(-42.66,-4.823),(-42.754,-4.041),(-42.876,-2.698),(-42.945,-1.462),(-42.974,0),(-42.945,1.462),(-42.876,2.698),(-42.754,4.041),(-42.66,4.823),(-42.55,5.602),(-42.302,7.041),(-41.998,8.468),(-41.698,9.665),(-41.292,11.064),(-41.216,11.044),(-41.621,9.647),(-41.946,8.344),(-42.245,6.918),(-42.488,5.481),(-42.663,4.146),(-42.789,2.805),(-42.866,1.459),(-42.895,0),(-42.866,-1.459),(-42.789,-2.805),(-42.663,-4.146),(-42.488,-5.481),(-42.245,-6.918),(-41.946,-8.344),(-41.621,-9.647),(-41.216,-11.044)],
  [(-41.747,-11.186),(-42.485,-8.451),(-42.999,-5.775),(-43.337,-2.84),(-43.444,-0.114),(-43.337,2.84),(-43.05,5.438),(-42.485,8.451),(-41.747,11.186),(-41.37,11.085),(-42.077,8.484),(-42.595,5.835),(-42.921,3.152),(-43.054,0.113),(-42.972,-2.478),(-42.663,-5.39),(-42.152,-8.155),(-41.37,-11.085)],
  [(-20.448,-5.479),(-21.155,-2.785),(-21.394,-0.112),(-21.183,2.62),(-20.448,5.479),(0,0.175),(0,-0.175)])
te1310_swgc_34d.add(gdstk.Label('Ref: Yun Wang, O-Band Sub-Wavelength Grating Coupler, IPC 2017', (-38,0), layer=10, texttype=0))
te1310_swgc_34d.add(gdstk.Label('URL ?', (-38,-2), layer=10, texttype=0))
te1310_swgc_34d.add(gdstk.Label('TE 1310 +34 deg high efficiency', (-38,2), layer=10, texttype=0))

ebeam_gc_te1310 = lib.new_cell('ebeam_gc_te1310')
P(ebeam_gc_te1310, DevRec, [(-42,-12.5),(-44,-4),(-44,4),(-42,12.5),(0,0.4),(0,-0.4)])
P(ebeam_gc_te1310, FbrTgt, [(-24.621,-4.5),(-25.495,-4.37),(-26.326,-4.073),(-27.084,-3.619),(-27.738,-3.026),(-28.264,-2.316),(-28.642,-1.518),(-28.857,-0.661),(-28.9,0.221),(-28.77,1.095),(-28.473,1.926),(-28.019,2.684),(-27.426,3.338),(-26.716,3.864),(-25.918,4.242),(-25.061,4.457),(-24.179,4.5),(-23.305,4.37),(-22.474,4.073),(-21.716,3.619),(-21.062,3.026),(-20.536,2.316),(-20.158,1.518),(-19.943,0.661),(-19.9,-0.221),(-20.03,-1.095),(-20.327,-1.926),(-20.781,-2.684),(-21.374,-3.338),(-22.084,-3.864),(-22.882,-4.242),(-23.739,-4.457)])
ebeam_gc_te1310.add(gdstk.FlexPath([(-0.05,0),(0.05,0)], 0.35, ends="flush", simple_path=True, layer=1, datatype=10))  # PinRec
ebeam_gc_te1310.add(gdstk.Reference(te1310_swgc_34d, (0,0)))
ebeam_gc_te1310.add(gdstk.Label('opt1', (0,0), layer=1, texttype=10))
ebeam_gc_te1310.add(gdstk.Label('Lumerical_INTERCONNECT_library=Design kits/Not_Available', (-40,-5), layer=68, texttype=0))

lukasc_2_gc = lib.new_cell('lukasc_2_gc')
r = gdstk.Reference(ebeam_gc_te1310, (44,12.5)); r.repetition = gdstk.Repetition(1, 3, v1=(0,0), v2=(0,127)); lukasc_2_gc.add(r)

lib.write_gds('lukasc_2_gc.gds')
